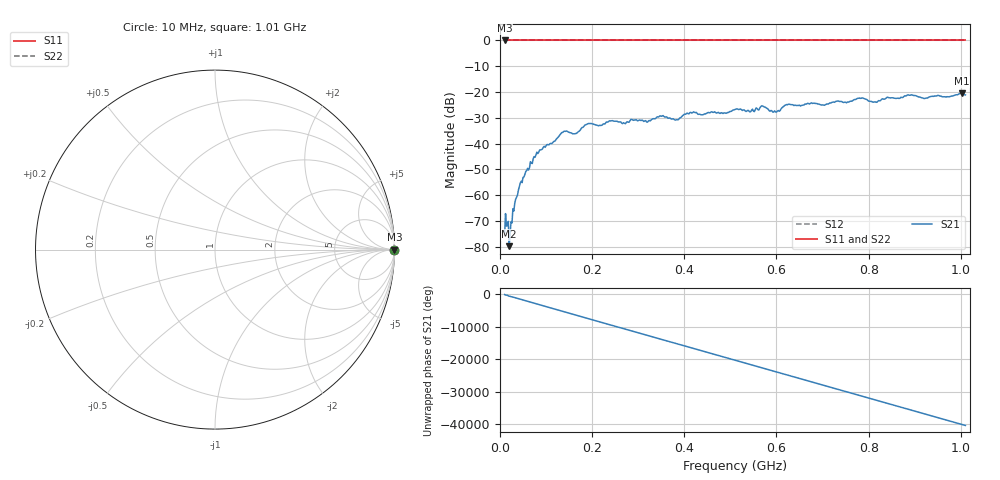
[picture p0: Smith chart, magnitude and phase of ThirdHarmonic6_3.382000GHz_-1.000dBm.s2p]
! 8/17/2025 10:45:23 AM
! C:\ANRITSUVNA\TEMP\TEMP.S2P
! CHANNEL.1
! TR.MEASUREMENT
! RAW.DATA
! RF.CORRECTION.OFF
! AVERAGING.OFF
! IF.BANDWIDTH: 5KHZ
! SWEEPTYPE:  FREQ.SWEEP(Linear)
! Reference Plane Port Info
! PORT:  PORT1  PORT2
! DISTANCE:  0  m  0  m
! TIME:  0  s  0  s
! PHASE.OFFSET:  0  deg.  0  deg.
! LOSS:  0  dB  0  dB
! REF.LOSS:  0  dB  0  dB
! REF.FREQ:  0  Hz  0  Hz
! Power Info
! POWER:  -20  dBm  -20  dBm
! EFF.POWER:  -20  dBm  -20  dBm
! SOURCE.ATTEN:  0  dB  0  dB
! TEST.ATTEN:  0  dB  0  dB
# GHZ S RI R 50.0
! FREQ.GHZ  S11RE  S11IM  S21RE  S21IM  S12RE  S12IM  S22RE  S22IM
!; PortSelection: Port_12
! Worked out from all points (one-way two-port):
!   501 points, 10 MHz to 1.01 GHz, reference 50 ohm
!   highest |S21| = -20.44 dB at 1.002 GHz (marker M1); lowest = -79.8 dB at 20 MHz (marker M2)
!   lowest |S11| = 0.0 dB at 10 MHz (marker M3)
!   |S11| at or under -10 dB: nowhere
!   |S22| runs from 0.0 to 0.0 dB; largest |S21 - S12| = 1.1
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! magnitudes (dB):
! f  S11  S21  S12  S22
! 10 MHz  0.0  -75.7  0.0  0.0
! 14 MHz  0.0  -72.0  0.0  0.0
! 20 MHz  0.0  -79.8  0.0  0.0
! 24 MHz  0.0  -70.3  0.0  0.0
! 32 MHz  0.0  -63.2  0.0  0.0
! 42 MHz  0.0  -56.7  0.0  0.0
! 76 MHz  0.0  -45.3  0.0  0.0
! 136 MHz  0.0  -35.7  0.0  0.0
! 162 MHz  0.0  -36.2  0.0  0.0
! 178 MHz  0.0  -33.8  0.0  0.0
! 344 MHz  0.0  -29.7  0.0  0.0
! 384 MHz  0.0  -30.7  0.0  0.0
! 416 MHz  0.0  -28.2  0.0  0.0
! 510 MHz  0.0  -26.8  0.0  0.0
! 570 MHz  0.0  -25.5  0.0  0.0
! 596 MHz  0.0  -27.3  0.0  0.0
! 624 MHz  0.0  -24.9  0.0  0.0
! 678 MHz  0.0  -24.5  0.0  0.0
! 814 MHz  0.0  -23.8  0.0  0.0
! 844 MHz  0.0  -22.2  0.0  0.0
! 1.002 GHz  0.0  -20.4  0.0  0.0
! 1.01 GHz  0.0  -21.1  0.0  0.0
